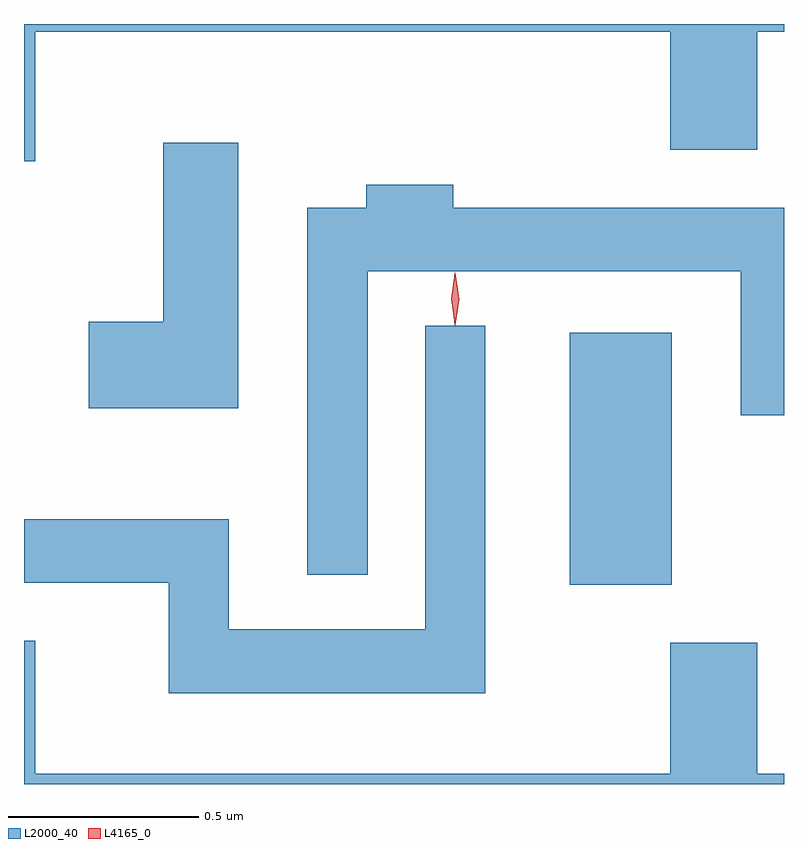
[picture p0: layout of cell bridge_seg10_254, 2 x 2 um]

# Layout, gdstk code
import gdstk
lib = gdstk.Library(unit=1e-6, precision=1e-09)
def R(c, l, rs):  # rectangles x0, y0, x1, y1
    for r in rs: c.add(gdstk.rectangle(r[:2], r[2:], *l))
def P(c, l, *ps):  # polygons
    for p in ps: c.add(gdstk.Polygon(p, *l))
L2000_40 = (2000, 40)
L4165_0 = (4165, 0)

bridge_seg10_254 = lib.new_cell('bridge_seg10_254')
R(bridge_seg10_254, L2000_40, [(1733.736,2101.361,1734.004,2102.024)])
P(bridge_seg10_254, L2000_40, [(1732.329,2102.816),(1734.001,2102.816),(1734.001,2102.506),(1734.229,2102.506),(1734.229,2102.816),(1734.3,2102.816),(1734.3,2102.837),(1732.3,2102.837),(1732.3,2102.476),(1732.329,2102.476)],
  [(1732.864,2102.524),(1732.666,2102.524),(1732.666,2102.054),(1732.471,2102.054),(1732.471,2101.826),(1732.864,2101.826)],
  [(1733.204,2102.186),(1734.186,2102.186),(1734.186,2101.808),(1734.3,2101.808),(1734.3,2102.354),(1733.429,2102.354),(1733.429,2102.414),(1733.201,2102.414),(1733.201,2102.354),(1733.046,2102.354),(1733.046,2101.388),(1733.204,2101.388)],
  [(1733.514,2102.043),(1733.356,2102.043),(1733.356,2101.244),(1732.839,2101.244),(1732.839,2101.534),(1732.3,2101.534),(1732.3,2101.366),(1732.681,2101.366),(1732.681,2101.076),(1733.514,2101.076)],
  [(1734.3,2100.864),(1734.229,2100.864),(1734.229,2101.209),(1734.001,2101.209),(1734.001,2100.864),(1732.329,2100.864),(1732.329,2101.214),(1732.3,2101.214),(1732.3,2100.837),(1734.3,2100.837)])
P(bridge_seg10_254, L4165_0, [(1733.434,2102.047),(1733.433,2102.048),(1733.424,2102.114),(1733.433,2102.18),(1733.434,2102.181),(1733.434,2102.18),(1733.444,2102.114),(1733.434,2102.048)],
  [(1733.434,2102.044),(1733.425,2102.113),(1733.434,2102.182),(1733.435,2102.183),(1733.435,2102.182),(1733.445,2102.113),(1733.435,2102.044),(1733.435,2102.044)])

lib.write_gds('bridge_seg10_254.gds')
